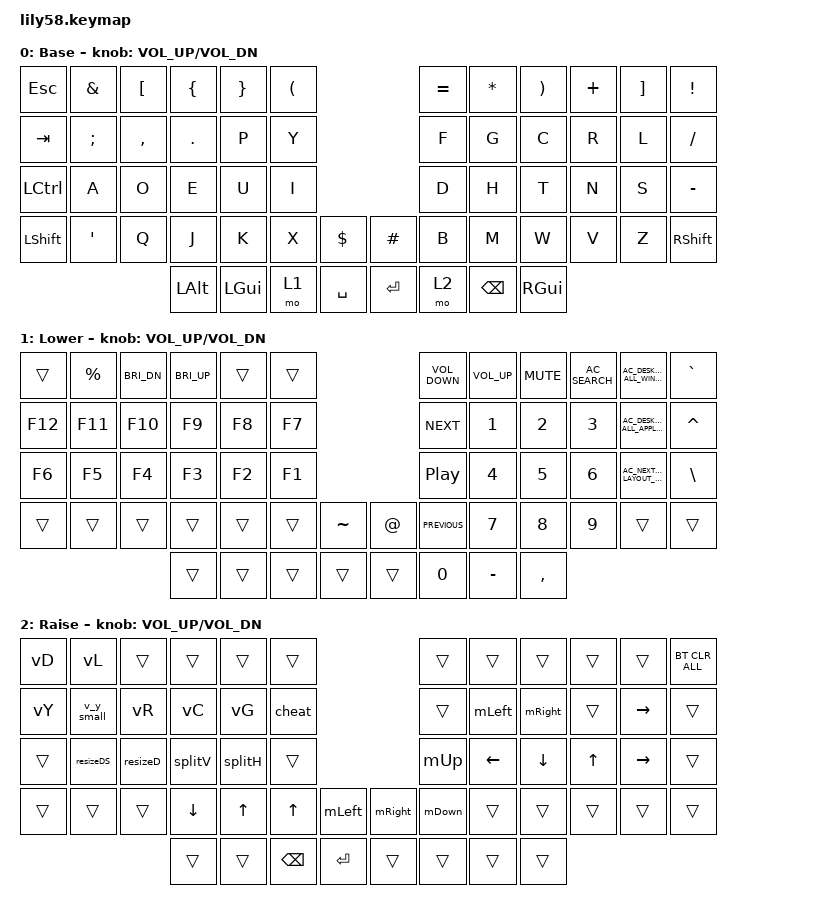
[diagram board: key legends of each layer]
/*
 * Copyright (c) 2020 The ZMK Contributors
 *
 * SPDX-License-Identifier: MIT
 */

#include <behaviors.dtsi>
#include <dt-bindings/zmk/bt.h>
#include <dt-bindings/zmk/keys.h>

/ {
    combos {
        compatible = "zmk,combos";

        cp_to_desk {
            bindings = <&kp LG(LS(NUMBER_4))>;
            key-positions = <5>;
            layers = <1>;
        };

        cp_to_clip {
            bindings = <&kp LS(LG(LC(NUMBER_4)))>;
            key-positions = <4>;
            layers = <1>;
        };
    };

    macros {
        splitH: splitH {
            compatible = "zmk,behavior-macro";
            #binding-cells = <0>;
            bindings = <&kp LC(A) &kp DOUBLE_QUOTES>;
            label = "SPLITH";
        };

        splitV: splitV {
            compatible = "zmk,behavior-macro";
            #binding-cells = <0>;
            bindings = <&kp LC(A) &kp PERCENT>;
            label = "SPLITV";
        };

        resizeD: resizeD {
            compatible = "zmk,behavior-macro";
            #binding-cells = <0>;
            bindings = <&kp LC(A) &kp COLON &kp R &kp E &kp S &kp I &kp Z &kp E &kp P &kp SPACE &kp MINUS &kp LS(D) &kp SPACE &kp N2 &kp N0 &kp RET>;
            label = "RESIZED";
        };

        resizeDS: resizeDS {
            compatible = "zmk,behavior-macro";
            #binding-cells = <0>;
            bindings = <&kp LC(A) &kp COLON &kp R &kp E &kp S &kp I &kp Z &kp E &kp P &kp SPACE &kp MINUS &kp LS(D) &kp SPACE &kp NUMBER_1 &kp NUMBER_2 &kp RET>;
            label = "RESIZEDS";
        };

        mUp: mUp {
            compatible = "zmk,behavior-macro";
            #binding-cells = <0>;
            bindings = <&kp LC(A) &kp K>;
            label = "MUP";
        };

        mDown: moveD {
            compatible = "zmk,behavior-macro";
            #binding-cells = <0>;
            bindings = <&kp LC(A) &kp J>;
            label = "MOVED";
        };

        mLeft: mLeft {
            compatible = "zmk,behavior-macro";
            #binding-cells = <0>;
            bindings = <&kp LC(A) &kp H>;
            label = "MLEFT";
        };

        mRight: mRight {
            compatible = "zmk,behavior-macro";
            #binding-cells = <0>;
            bindings = <&kp LC(A) &kp L>;
            label = "MRIGHT";
        };

        cheat: cheat {
            compatible = "zmk,behavior-macro";
            #binding-cells = <0>;
            bindings = <&kp LC(A) &kp I>;
            label = "CHEAT";
        };

        vG: vG {
            compatible = "zmk,behavior-macro";
            #binding-cells = <0>;
            bindings = <&kp LC(A) &kp LS(G)>;
            label = "VG";
        };

        vC: vC {
            compatible = "zmk,behavior-macro";
            #binding-cells = <0>;
            bindings = <&kp LC(A) &kp LS(C)>;
            label = "VC";
        };

        vR: vR {
            compatible = "zmk,behavior-macro";
            #binding-cells = <0>;
            bindings = <&kp LC(A) &kp LS(R)>;
            label = "VR";
        };

        vY: vY {
            compatible = "zmk,behavior-macro";
            #binding-cells = <0>;
            bindings = <&kp LC(A) &kp LS(Y)>;
            label = "VY";
        };

        vL: vL {
            compatible = "zmk,behavior-macro";
            #binding-cells = <0>;
            bindings = <&kp LC(A) &kp LS(L)>;
            label = "VL";
        };

        v_y_small: v_y_small {
            compatible = "zmk,behavior-macro";
            #binding-cells = <0>;
            bindings = <&kp LC(A) &kp Y>;
            label = "V_Y_SMALL";
        };

        vD: vD {
            compatible = "zmk,behavior-macro";
            #binding-cells = <0>;
            bindings = <&kp LC(A) &kp LS(D)>;
            label = "VD";
        };
    };

    keymap {
        compatible = "zmk,keymap";

        default_layer {
            // ------------------------------------------------------------------------------------------------------------
            // |  ESC  |  1  |  2  |  3   |  4   |  5   |                   |  6   |  7    |  8    |  9   |   0   |   `   |
            // |  TAB  |  Q  |  W  |  E   |  R   |  T   |                   |  Y   |  U    |  I    |  O   |   P   |   -   |
            // |  CTRL |  A  |  S  |  D   |  F   |  G   |                   |  H   |  J    |  K    |  L   |   ;   |   '   |
            // | SHIFT |  Z  |  X  |  C   |  V   |  B   |   "["  |  |  "]"  |  N   |  M    |  ,    |  .   |   /   | SHIFT |
            //                     | ALT  | GUI  | LOWER|  SPACE |  | ENTER | RAISE| BSPC  | GUI   |

            display-name = "Base";
            bindings = <
&kp ESC     &kp AMPERSAND  &kp LEFT_BRACKET  &kp LEFT_BRACE  &kp RIGHT_BRACE  &kp LEFT_PARENTHESIS                          &kp EQUAL  &kp ASTERISK  &kp RIGHT_PARENTHESIS  &kp PLUS  &kp RIGHT_BRACKET  &kp EXCLAMATION
&kp TAB     &kp SEMICOLON  &kp COMMA         &kp PERIOD      &kp P            &kp Y                                         &kp F      &kp G         &kp C                  &kp R     &kp L              &kp SLASH
&kp LCTRL   &kp A          &kp O             &kp E           &kp U            &kp I                                         &kp D      &kp H         &kp T                  &kp N     &kp S              &kp MINUS
&kp LSHIFT  &kp SQT        &kp Q             &kp J           &kp K            &kp X                 &kp DOLLAR    &kp HASH  &kp B      &kp M         &kp W                  &kp V     &kp Z              &kp RSHFT
                                             &kp LALT        &kp LGUI         &mo 1                 &kp SPACE     &kp RET   &mo 2      &kp BSPC      &kp RGUI
            >;

            sensor-bindings = <&inc_dec_kp C_VOL_UP C_VOL_DN>;
        };

        lower_layer {
            // ------------------------------------------------------------------------------------------------------------
            // | BTCLR | BT1 | BT2 |  BT3 |  BT4 |  BT5 |                   |      |       |       |      |       |       |
            // |  F1   |  F2 |  F3 |  F4  |  F5  |  F6  |                   |  F7  |  F8   |  F9   |  F10 |  F11  |  F12  |
            // |   `   |  !  |  @  |  #   |  $   |  %   |                   |  ^   |  &    |  *    |  (   |   )   |   ~   |
            // |       |     |     |      |      |      |        |  |       |      |  _    |  +    |  {   |   }   |  "|"  |
            //                     |      |      |      |        |  |       |      |       |       |

            display-name = "Lower";
            bindings = <
&trans   &kp PERCENT  &kp C_BRI_DN  &kp C_BRI_UP  &trans  &trans                            &kp C_VOLUME_DOWN  &kp C_VOL_UP  &kp C_MUTE    &kp C_AC_SEARCH  &kp C_AC_DESKTOP_SHOW_ALL_WINDOWS       &kp GRAVE
&kp F12  &kp F11      &kp F10       &kp F9        &kp F8  &kp F7                            &kp C_NEXT         &kp NUMBER_1  &kp NUMBER_2  &kp NUMBER_3     &kp C_AC_DESKTOP_SHOW_ALL_APPLICATIONS  &kp CARET
&kp F6   &kp F5       &kp F4        &kp F3        &kp F2  &kp F1                            &kp C_PLAY_PAUSE   &kp NUMBER_4  &kp N5        &kp NUMBER_6     &kp C_AC_NEXT_KEYBOARD_LAYOUT_SELECT    &kp BACKSLASH
&trans   &trans       &trans        &trans        &trans  &trans  &kp TILDE    &kp AT_SIGN  &kp C_PREVIOUS     &kp N7        &kp N8        &kp N9           &trans                                  &trans
                                    &trans        &trans  &trans  &trans       &trans       &kp N0             &kp MINUS     &kp COMMA
            >;

            sensor-bindings = <&inc_dec_kp C_VOL_UP C_VOL_DN>;
        };

        raise_layer {
            // ------------------------------------------------------------------------------------------------------------
            // |       |     |     |      |      |      |                   |      |       |       |      |       |       |
            // |   `   |  1  |  2  |  3   |  4   |  5   |                   |  6   |   7   |   8   |  9   |   0   |       |
            // |   F1  |  F2 |  F3 |  F4  |  F5  |  F6  |                   |      |   <-  |   v   |  ^   |  ->   |       |
            // |   F7  |  F8 |  F9 |  F10 |  F11 |  F12 |        |  |       |  +   |   -   |   =   |  [   |   ]   |   \   |
            //                     |      |      |      |        |  |       |      |       |       |

            display-name = "Raise";
            bindings = <
&vD     &vL         &trans    &trans          &trans        &trans                               &trans  &trans    &trans    &trans  &trans           &bt BT_CLR_ALL
&vY     &v_y_small  &vR       &vC             &vG           &cheat                               &trans  &mLeft    &mRight   &trans  &kp RIGHT_ARROW  &trans
&trans  &resizeDS   &resizeD  &splitV         &splitH       &trans                               &mUp    &kp LEFT  &kp DOWN  &kp UP  &kp RIGHT        &trans
&trans  &trans      &trans    &kp DOWN_ARROW  &kp UP_ARROW  &kp UP_ARROW   &mLeft       &mRight  &mDown  &trans    &trans    &trans  &trans           &trans
                              &trans          &trans        &kp BACKSPACE  &kp ENTER    &trans   &trans  &trans    &trans
            >;

            sensor-bindings = <&inc_dec_kp C_VOL_UP C_VOL_DN>;
        };

        extra_1 { status = "reserved"; };

        extra_2 { status = "reserved"; };

        extra_3 { status = "reserved"; };
    };
};
